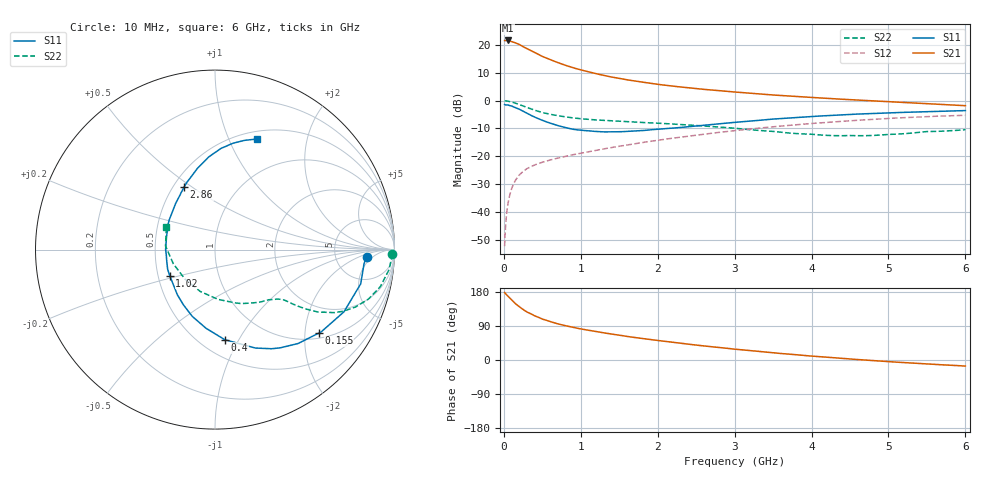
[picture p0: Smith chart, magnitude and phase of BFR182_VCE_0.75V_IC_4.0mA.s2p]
! Infineon Technologies  Discrete & RF Semiconductors
! BFR182
! VCE = 0.75 V,  IC =  4.0 mA
! Common Emitter S-Parameters:  Nov 2015
# GHz  S  MA  R  50
!  f  S11  S21  S12  S22
! GHz  MAG  ANG  MAG  ANG  MAG  ANG  MAG  ANG
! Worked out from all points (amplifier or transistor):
!   210 points, 10 MHz to 6 GHz, reference 50 ohm
!   highest |S21| = 21.6 dB at 50 MHz (marker M1)
!   |S21| within 3 dB of that: start of sweep to 305 MHz
!   unconditionally stable (mu >= 1): 1.061 GHz to 3.297 GHz
!   at 185 MHz: K = 0.30, MSG = 23.8 dB, |S12| = -27.4 dB
!   at 1.52 GHz: K = 1.08, MAG = 10.4 dB, |S12| = -16.4 dB
!   at 6 GHz: K = 0.94, MSG = 1.7 dB, |S12| = -5.3 dB
!   S11 on the Smith chart (normalised r, x): 10 MHz: 11, -3; 155 MHz: 1.14, -2.36; 400 MHz: 0.65, -0.88; 1.02 GHz: 0.58, -0.18; 2.86 GHz: 0.57, +0.46; 6 GHz: 0.59, +1.28
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0.01  0.8457 -2.9  12 178.0  0.0024 91.2  0.9891 -1.4
0.025  0.8331 -6.5  11.93 174.4  0.0062 84.5  0.9832 -3.2
0.05  0.834 -13.2  12.03 169.2  0.013 83.4  0.9766 -6.5
0.1  0.7978 -25.7  11.51 159.2  0.0258 76.7  0.9443 -12.6
0.155  0.7422 -38.8  10.82 147.9  0.0375 70.2  0.8927 -18.3
0.2  0.6981 -48.6  10.18 140.6  0.0456 66.2  0.846 -22.2
0.26  0.6359 -60.3  9.155 132.0  0.0543 61.5  0.7863 -26.0
0.3  0.5928 -67.7  8.582 126.7  0.0595 60.3  0.7507 -27.9
0.4  0.505 -83.8  7.323 116.6  0.0693 56.3  0.6691 -31.3
0.5  0.4408 -96.6  6.214 108.1  0.0774 54.4  0.6072 -33.1
0.62  0.3839 -110.9  5.309 100.3  0.0864 53.7  0.5592 -34.3
0.7  0.3544 -119.8  4.816 95.5  0.0919 53.7  0.5334 -34.9
0.8  0.3272 -130.0  4.297 90.5  0.0989 53.5  0.5081 -35.3
1.02  0.2907 -150.2  3.495 81.3  0.1138 54.6  0.4676 -36.6
1.4  0.2752 179.8  2.642 68.5  0.1424 55.5  0.4316 -40.1
1.64  0.2799 164.5  2.312 61.1  0.1617 55.8  0.4141 -42.4
2.02  0.3053 145.9  1.94 51.0  0.1947 54.9  0.3901 -48.0
2.86  0.3877 116.5  1.477 31.7  0.2733 50.2  0.3289 -65.6
3.1  0.415 110.7  1.387 26.8  0.2967 48.0  0.3075 -72.3
4.1  0.5252 92.5  1.114 8.9  0.3951 37.5  0.2408 -114.3
5.1  0.6065 79.2  0.94 -5.6  0.4842 25.0  0.2484 -166.4
6  0.659 69.2  0.807 -16.0  0.5426 12.4  0.2987 155.0
